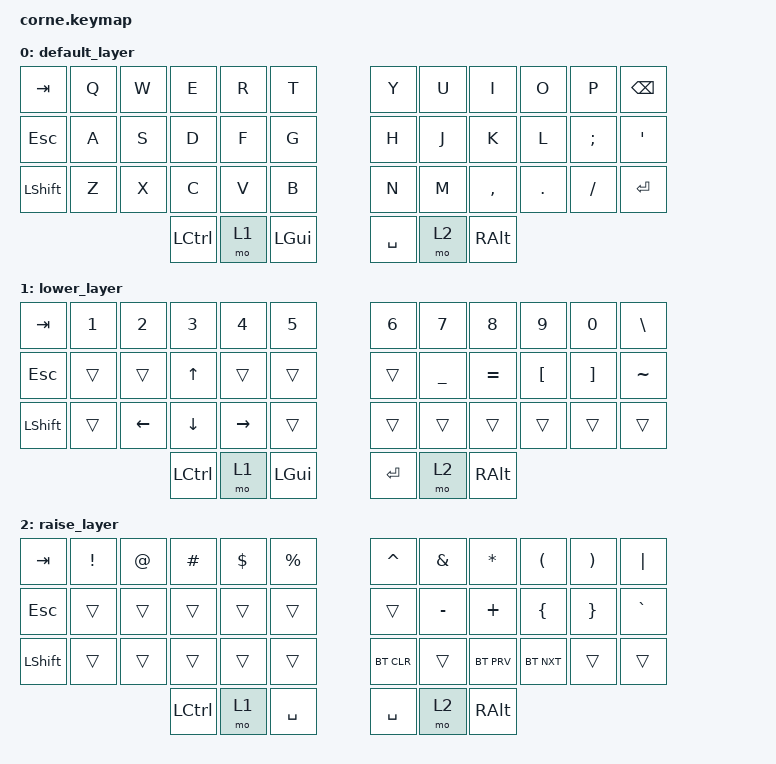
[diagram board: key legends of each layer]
/*
 * Copyright (c) 2020 The ZMK Contributors
 *
 * SPDX-License-Identifier: MIT
 */

#include <behaviors.dtsi>
#include <dt-bindings/zmk/keys.h>
#include <dt-bindings/zmk/bt.h>

/ {
        keymap {
                compatible = "zmk,keymap";

                default_layer {
// -------------------------------------------------------------------------------------------------------------------------------------
// | ESC     |    Q    |    W    |    E    |    R    |    T    |           |    Y    |    U    |    I    |    O    |    P    |  BKSP   |
// | TAB     |    A    |    S    |    D    |    F    |    G    |           |    H    |    J    |    K    |    L    |    ;    |    '    |
// | SHFT    |    Z    |    X    |    C    |    V    |    B    |           |    N    |    M    |    ,    |    .    |    /    |   RET   |
//                                    |  CTRL   |   LWR   |   GUI   | |   SPC   |   RSE   |   ALT   |
                        bindings = <
    &kp TAB   &kp Q     &kp W     &kp E     &kp R     &kp T                 &kp Y     &kp U     &kp I     &kp O     &kp P     &kp BSPC
    &kp ESC   &kp A     &kp S     &kp D     &kp F     &kp G                 &kp H     &kp J     &kp K     &kp L     &kp SEMI  &kp SQT
    &kp LSHFT &kp Z     &kp X     &kp C     &kp V     &kp B                 &kp N     &kp M     &kp COMMA &kp DOT   &kp FSLH  &kp RET
                                       &kp LCTRL   &mo 1   &kp LGUI   &kp SPACE &mo 2     &kp RALT
                        >;
                };
                lower_layer {
// ------------------------------------------------------------------------------------------------------------------------------------
// | ESC     |    1    |    2    |    3    |    4    |    5    |           |    6    |    7    |    8    |    9    |    0    |    \    |
// | TAB     |         |         |   UP    |         |         |           |         |    _    |    =    |    [    |    ]    |    ~    |
// | SHFT    |         |  LEFT   |   DOWN  |  RIGHT  |         |           |         |         |         |         |         |         |
//                                    |  CTRL   |   LWR   |   GUI   | |   RET   |   RSE   |   ALT   |
                        bindings = <
    &kp TAB    &kp N1   &kp N2    &kp N3    &kp N4    &kp N5                &kp N6    &kp N7    &kp N8    &kp N9    &kp N0    &kp BSLH
    &kp ESC    &trans   &trans    &kp UP    &trans    &trans                &trans    &kp UNDER &kp EQUAL &kp LBKT  &kp RBKT  &kp TILDE
    &kp LSHFT  &trans   &kp LEFT  &kp DOWN  &kp RIGHT &trans                &trans    &trans    &trans    &trans    &trans    &trans
                                       &kp LCTRL   &mo 1   &kp LGUI    &kp RET   &mo 2     &kp RALT
                        >;
                };

                raise_layer {
// ------------------------------------------------------------------------------------------------------------------------------------
// |  TAB    |    !    |    @    |    #    |    $    |    %    |           |    ^    |    &    |    *    |    (    |    )    |   "|"   |
// | CTRL    |         |         |         |         |         |           |         |    -    |    +    |    {    |    }    |    `    |
// | SHFT    |         |         |         |         |         |           |         |         |         |         |         |         |
//                                    |  CTRL   |   LWR   |   BSPC   | |   SPC   |   RSE   |   ALT
                        bindings = <
   &kp TAB    &kp EXCL  &kp AT    &kp HASH  &kp DLLR  &kp PRCNT             &kp CARET &kp AMPS  &kp ASTRK &kp LPAR &kp RPAR  &kp PIPE
   &kp ESC    &trans    &trans    &trans    &trans    &trans                &trans    &kp MINUS &kp PLUS  &kp LBRC &kp RBRC  &kp GRAVE
   &kp LSHFT  &trans    &trans    &trans    &trans    &trans                &bt BT_CLR  &trans  &bt BT_PRV  &bt BT_NXT  &trans  &trans
                                       &kp LCTRL   &mo 1   &kp SPACE   &kp SPACE &mo 2     &kp RALT
                        >;
                };
        };
};
